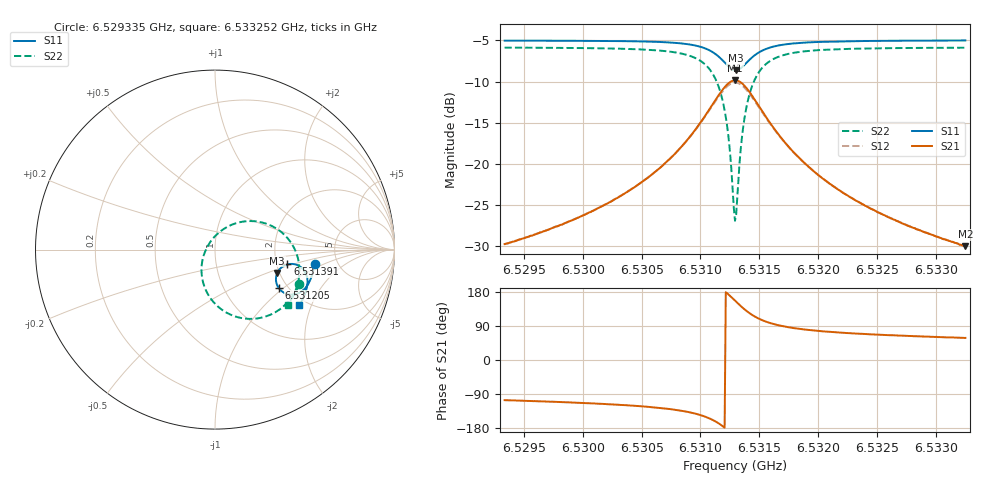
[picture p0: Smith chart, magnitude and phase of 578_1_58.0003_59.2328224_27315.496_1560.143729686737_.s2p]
#  HZ  S  RI  R  50.00
! Rohde & Schwarz Vector Network Analyzer
! Rohde-Schwarz,ZNB20-2Port,1311601062101988,3.16
! Created: UTC 3/21/2024, 1:16:11 AM
! freq[Hz]  re:S11  im:S11  re:S21  im:S21  re:S12  im:S12  re:S22  im:S22
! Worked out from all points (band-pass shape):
!   401 points, 6.529335 GHz to 6.533252 GHz, reference 50 ohm
!   highest |S21| = -9.85 dB at 6.531293 GHz (marker M1); lowest = -30.0 dB at 6.533252 GHz (marker M2)
!   |S21| within 3 dB of the highest: 6.531099 GHz to 6.531491 GHz (391.8 kHz wide, 0.006 % of centre)
!   lowest |S11| = -8.6 dB at 6.531303 GHz (marker M3), VSWR 2.18, Z = 97.3 - j29.4 ohm
!   |S11| at or under -10 dB: nowhere
!   |S22| runs from -26.9 to -5.9 dB; largest |S21 - S12| = 0.013
!   S11 on the Smith chart (normalised r, x): 6.529335 GHz: 3.34, -0.80; 6.531205 GHz: 1.79, -0.92; 6.531391 GHz: 2.29, -0.45; 6.533252 GHz: 1.82, -1.64
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6.5293349e9  0.5545 -0.0825  -0.00896 -0.0314  -0.00964 -0.0311  0.4707 -0.1929
6.529991e9  0.5425 -0.1375  -0.019 -0.0444  -0.0203 -0.044  0.4371 -0.2537
6.5303141e9  0.5316 -0.1676  -0.0304 -0.0559  -0.0316 -0.0553  0.4079 -0.2911
6.530647e9  0.5116 -0.2037  -0.0553 -0.0756  -0.0575 -0.074  0.3509 -0.3401
6.5308723e9  0.483 -0.2328  -0.0973 -0.0946  -0.1002 -0.0913  0.2664 -0.3775
6.5310387e9  0.4369 -0.2506  -0.1687 -0.0995  -0.1708 -0.0925  0.1359 -0.3789
6.5311367e9  0.3903 -0.2432  -0.2406 -0.0699  -0.2391 -0.0598  0.0161 -0.3169
6.5312052e9  0.3546 -0.2129  -0.2926 -0.00745  -0.2857 0.00281  -0.0601 -0.203
6.5312346e9  0.3438 -0.1913  -0.3058 0.0332  -0.2966 0.0421  -0.0746 -0.1334
6.5312737e9  0.3399 -0.1567  -0.3052 0.0958  -0.2937 0.101  -0.0627 -0.0313
6.5312933e9  0.3437 -0.1388  -0.2957 0.127  -0.2838 0.1302  -0.0416 0.018
6.5313031e9  0.3469 -0.1302  -0.2887 0.1417  -0.2768 0.1439  -0.0275 0.0409
6.5313129e9  0.351 -0.1222  -0.2803 0.1558  -0.2685 0.1569  -0.0113 0.0623
6.5313521e9  0.3745 -0.0961  -0.2355 0.2001  -0.2258 0.198  0.0692 0.1272
6.5313912e9  0.4034 -0.0823  -0.1836 0.2232  -0.1766 0.2193  0.1583 0.1563
6.5314598e9  0.449 -0.0829  -0.1043 0.2233  -0.1008 0.2198  0.2907 0.1425
6.5315577e9  0.4882 -0.1067  -0.0372 0.1888  -0.0355 0.1869  0.3991 0.0697
6.5317046e9  0.5104 -0.1443  0.00257 0.1388  0.00385 0.138  0.457 -0.0306
6.5319494e9  0.5153 -0.1886  0.0187 0.0901  0.0198 0.0898  0.47 -0.1313
6.5322138e9  0.5097 -0.2215  0.0209 0.0633  0.0217 0.0632  0.4604 -0.1924
6.5326055e9  0.4965 -0.2587  0.0196 0.043  0.0204 0.0428  0.4397 -0.2482
6.5332517e9  0.4707 -0.3076  0.0167 0.027  0.0172 0.0268  0.405 -0.3067
